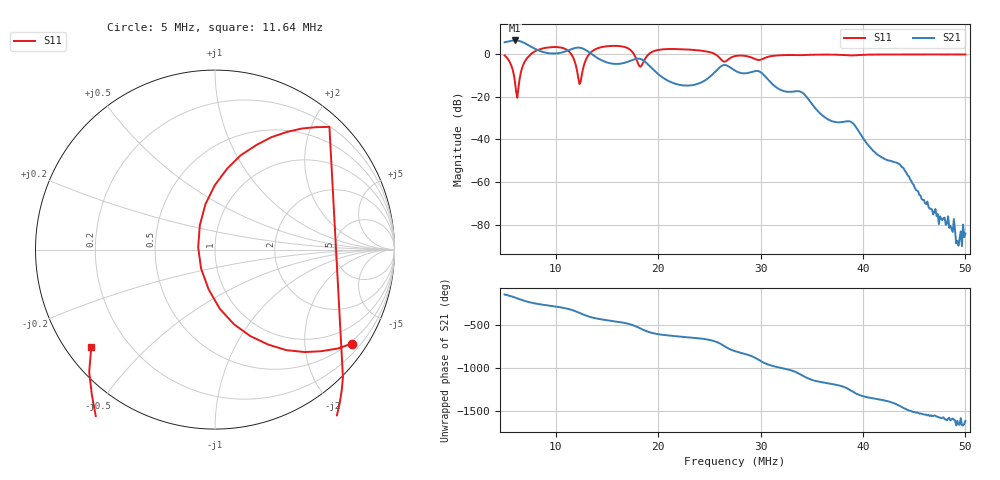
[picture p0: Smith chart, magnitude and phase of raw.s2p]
! S11/S21 only; reverse parameters are placeholders. Device calibration unverified.
! NanoVNA F V2 profile | COM3 | 2026-09-08T11:57:47.5385913-04:00 | device calibration unverified
# HZ S RI R 50
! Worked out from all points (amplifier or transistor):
!   401 points, 5 MHz to 50 MHz, reference 50 ohm
!   highest |S21| = 6.4 dB at 6.013 MHz (marker M1)
!   |S21| within 3 dB of that: start of sweep to 7.61 MHz
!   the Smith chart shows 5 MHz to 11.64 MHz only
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5000000  0.7637 -0.5232  -1.498 -1.142  0 0  0 0
6012500  -0.0358 -0.2211  -2.076 -0.0906  0 0  0 0
7250000  0.4848 0.6748  -1.123 1.203  0 0  0 0
7812500  0.6946 -0.8571  -0.6342 1.231  0 0  0 0
1.00625e7  -0.0477 -1.458  0.251 1.005  0 0  0 0
1.1525e7  -0.701 -0.6828  1.009 0.8159  0 0  0 0
1.25375e7  0.2328 0.2249  1.362 -0.1996  0 0  0 0
1.38875e7  1.148 -0.6128  0.4299 -0.7432  0 0  0 0
1.625e7  0.5482 -1.43  -0.142 -0.5753  0 0  0 0
1.715e7  -0.1728 -1.303  -0.3969 -0.5468  0 0  0 0
1.7825e7  -0.69 -0.3991  -0.6941 -0.3409  0 0  0 0
1.86125e7  0.2875 0.632  -0.6561 0.2163  0 0  0 0
1.92875e7  1.023 0.3547  -0.3315 0.357  0 0  0 0
2.0075e7  1.256 -0.0453  -0.1298 0.3016  0 0  0 0
2.39e7  1.027 -0.6625  0.0764 0.1869  0 0  0 0
2.62625e7  0.5184 -0.4638  0.5309 -0.0878  0 0  0 0
2.75e7  0.8187 -0.3609  0.0511 -0.4056  0 0  0 0
3.05375e7  0.7616 -0.3319  -0.1821 0.2181  0 0  0 0
3.50375e7  0.6989 -0.6589  0.0338 -0.0572  0 0  0 0
4.2575e7  0.4425 -0.868  0.00214 0.00237  0 0  0 0
4.74125e7  0.258 -0.9423  -7.4e-05 -7.4e-05  0 0  0 0
5e7  0.1604 -0.9642  -6.3e-05 -4e-06  0 0  0 0
